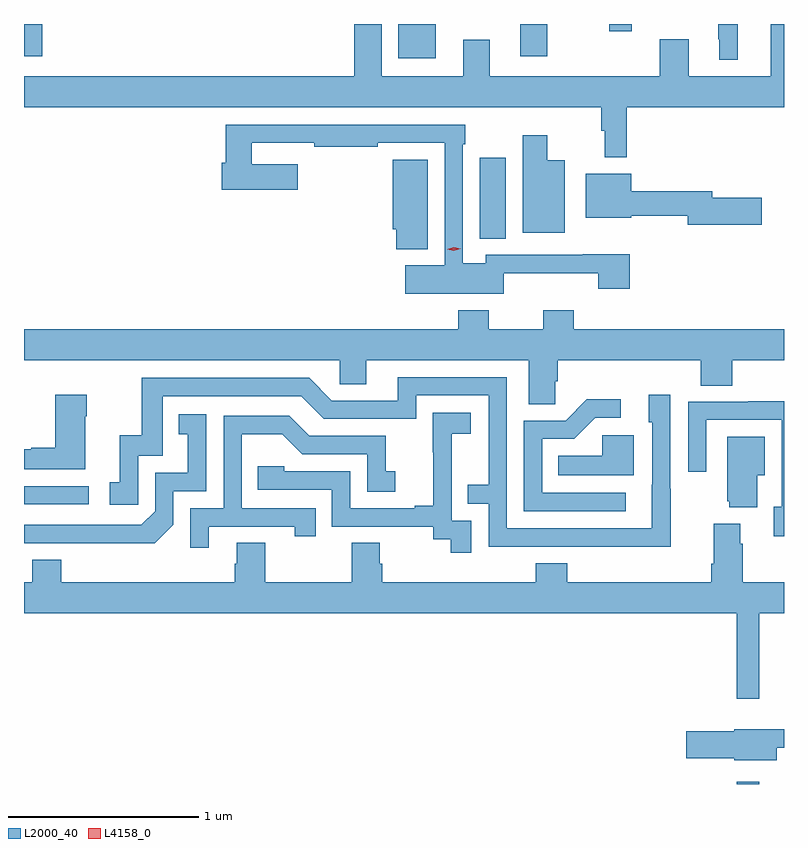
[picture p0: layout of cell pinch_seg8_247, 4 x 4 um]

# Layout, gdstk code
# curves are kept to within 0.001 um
import gdstk
lib = gdstk.Library(unit=1e-6, precision=1e-09)
def R(c, l, rs):  # rectangles x0, y0, x1, y1
    for r in rs: c.add(gdstk.rectangle(r[:2], r[2:], *l))
def P(c, l, *ps):  # polygons
    for p in ps: c.add(gdstk.Polygon(p, *l))
L2000_40 = (2000, 40)
L4158_0 = (4158, 0)

pinch_seg8_247 = lib.new_cell('pinch_seg8_247')
R(pinch_seg8_247, L2000_40, [(771.438,1094.29,771.559,1094.302), (767.688,1095.762,768.028,1095.858), (770.087,1097.161,770.224,1097.587), (769.659,1098.11,769.855,1098.29), (767.688,1098.12,767.783,1098.29), (770.3,1098.12,770.442,1098.29), (770.768,1098.252,770.887,1098.29)])
P(pinch_seg8_247, L2000_40, [(771.445,1098.29),(771.343,1098.29),(771.343,1098.211),(771.347,1098.211),(771.347,1098.101),(771.445,1098.101)],
  [(770.861,1097.852),(771.688,1097.852),(771.688,1098.29),(771.617,1098.29),(771.617,1098.016),(771.187,1098.016),(771.187,1098.211),(771.035,1098.211),(771.035,1098.016),(770.14,1098.016),(770.14,1098.206),(770,1098.206),(770,1098.016),(769.57,1098.016),(769.57,1098.29),(769.427,1098.29),(769.427,1098.016),(767.688,1098.016),(767.688,1097.852),(770.725,1097.852),(770.725,1097.729),(770.744,1097.729),(770.744,1097.589),(770.861,1097.589)],
  [(770.214,1096.979),(770.711,1096.979),(770.711,1096.896),(770.876,1096.896),(770.876,1097.078),(770.629,1097.078),(770.629,1097.076),(770.118,1097.076),(770.118,1097.032),(769.998,1097.032),(769.998,1097.657),(770.011,1097.657),(770.011,1097.76),(768.751,1097.76),(768.751,1097.559),(768.728,1097.559),(768.728,1097.417),(769.129,1097.417),(769.129,1097.551),(768.887,1097.551),(768.887,1097.664),(769.216,1097.664),(769.216,1097.644),(769.55,1097.644),(769.55,1097.664),(769.902,1097.664),(769.902,1097.02),(769.695,1097.02),(769.695,1096.871),(770.214,1096.871)],
  [(770.533,1097.572),(770.442,1097.572),(770.442,1097.704),(770.312,1097.704),(770.312,1097.192),(770.533,1097.192)],
  [(769.813,1097.575),(769.628,1097.575),(769.628,1097.211),(769.646,1097.211),(769.646,1097.105),(769.813,1097.105)],
  [(771.571,1097.376),(771.31,1097.376),(771.31,1097.41),(770.884,1097.41),(770.884,1097.503),(770.645,1097.503),(770.645,1097.27),(770.884,1097.27),(770.884,1097.281),(771.182,1097.281),(771.182,1097.234),(771.571,1097.234)],
  [(770.484,1096.411),(770.498,1096.411),(770.498,1096.52),(771.251,1096.52),(771.251,1096.387),(771.416,1096.387),(771.416,1096.52),(771.688,1096.52),(771.688,1096.684),(770.582,1096.684),(770.582,1096.783),(770.422,1096.783),(770.422,1096.684),(770.133,1096.684),(770.133,1096.783),(769.973,1096.783),(769.973,1096.684),(767.688,1096.684),(767.688,1096.52),(769.35,1096.52),(769.35,1096.393),(769.489,1096.393),(769.489,1096.52),(770.345,1096.52),(770.345,1096.288),(770.484,1096.288)],
  [(771.093,1095.845),(771.09,1095.845),(771.09,1096.339),(770.975,1096.339),(770.975,1096.194),(770.994,1096.194),(770.993,1095.636),(770.229,1095.636),(770.229,1096.431),(769.655,1096.431),(769.655,1096.308),(769.308,1096.308),(769.188,1096.428),(768.309,1096.428),(768.309,1096.126),(768.191,1096.126),(768.191,1095.879),(768.138,1095.879),(768.138,1095.759),(768.288,1095.759),(768.288,1096.017),(768.417,1096.017),(768.417,1096.332),(769.146,1096.332),(769.266,1096.212),(769.752,1096.212),(769.752,1096.335),(770.133,1096.335),(770.133,1095.866),(770.023,1095.866),(770.023,1095.765),(770.133,1095.765),(770.133,1095.54),(771.093,1095.539)],
  [(768.01,1096.226),(768.018,1096.226),(768.018,1096.339),(767.852,1096.339),(767.852,1096.061),(767.726,1096.061),(767.726,1096.051),(767.688,1096.051),(767.688,1095.947),(768.01,1095.947)],
  [(770.854,1095.822),(770.415,1095.822),(770.415,1096.107),(770.584,1096.107),(770.695,1096.218),(770.83,1096.218),(770.83,1096.316),(770.651,1096.316),(770.538,1096.203),(770.319,1096.203),(770.319,1095.726),(770.854,1095.726)],
  [(771.688,1096.304),(771.499,1096.304),(771.499,1096.302),(771.183,1096.302),(771.183,1095.933),(771.279,1095.933),(771.279,1096.206),(771.675,1096.206),(771.675,1095.75),(771.635,1095.75),(771.635,1095.594),(771.688,1095.594)],
  [(770.043,1095.675),(769.938,1095.675),(769.938,1095.905),(769.94,1095.905),(769.94,1096.133),(770.038,1096.133),(770.038,1096.243),(769.84,1096.243),(769.84,1096.037),(769.841,1096.037),(769.841,1095.754),(769.745,1095.754),(769.745,1095.741),(769.404,1095.741),(769.404,1095.936),(769.059,1095.936),(769.059,1095.963),(768.919,1095.963),(768.919,1095.84),(769.308,1095.84),(769.308,1095.645),(769.842,1095.645),(769.842,1095.577),(769.935,1095.577),(769.935,1095.507),(770.043,1095.507)],
  [(768.474,1095.654),(768.474,1095.831),(768.648,1095.831),(768.648,1096.237),(768.502,1096.237),(768.502,1096.131),(768.551,1096.131),(768.551,1095.927),(768.378,1095.927),(768.378,1095.726),(768.306,1095.654),(767.688,1095.654),(767.688,1095.558),(768.376,1095.557)],
  [(768.661,1095.645),(769.112,1095.645),(769.112,1095.594),(769.223,1095.594),(769.223,1095.741),(768.834,1095.741),(768.834,1096.13),(769.048,1096.13),(769.152,1096.026),(769.494,1096.026),(769.494,1095.828),(769.642,1095.828),(769.642,1095.937),(769.593,1095.937),(769.593,1096.122),(769.189,1096.122),(769.084,1096.227),(768.738,1096.227),(768.738,1095.741),(768.564,1095.741),(768.564,1095.534),(768.661,1095.534)],
  [(770.896,1096.126),(770.731,1096.126),(770.731,1096.018),(770.5,1096.018),(770.5,1095.914),(770.896,1095.914)],
  [(771.547,1095.914),(771.586,1095.914),(771.586,1096.117),(771.389,1096.117),(771.389,1095.777),(771.401,1095.777),(771.401,1095.746),(771.547,1095.746)],
  [(771.559,1095.188),(771.688,1095.188),(771.688,1095.352),(771.47,1095.352),(771.47,1095.554),(771.457,1095.554),(771.457,1095.661),(771.317,1095.661),(771.317,1095.448),(771.305,1095.448),(771.305,1095.352),(770.546,1095.352),(770.546,1095.451),(770.381,1095.451),(770.381,1095.352),(769.574,1095.352),(769.574,1095.45),(769.561,1095.45),(769.561,1095.56),(769.414,1095.56),(769.414,1095.352),(768.957,1095.352),(768.957,1095.56),(768.809,1095.56),(768.809,1095.45),(768.797,1095.45),(768.797,1095.352),(767.885,1095.352),(767.885,1095.469),(767.732,1095.469),(767.732,1095.352),(767.688,1095.352),(767.688,1095.188),(771.438,1095.188),(771.438,1094.739),(771.559,1094.739)],
  [(771.649,1094.481),(771.688,1094.481),(771.688,1094.577),(771.645,1094.577),(771.645,1094.578),(771.426,1094.578),(771.426,1094.567),(771.174,1094.567),(771.174,1094.425),(771.426,1094.425),(771.426,1094.414),(771.649,1094.414)])
P(pinch_seg8_247, L4158_0, [(769.951,1097.096),(769.916,1097.105),(769.916,1097.105),(769.916,1097.105),(769.95,1097.116),(769.986,1097.108),(769.986,1097.108),(769.986,1097.108)])

lib.write_gds('pinch_seg8_247.gds')
